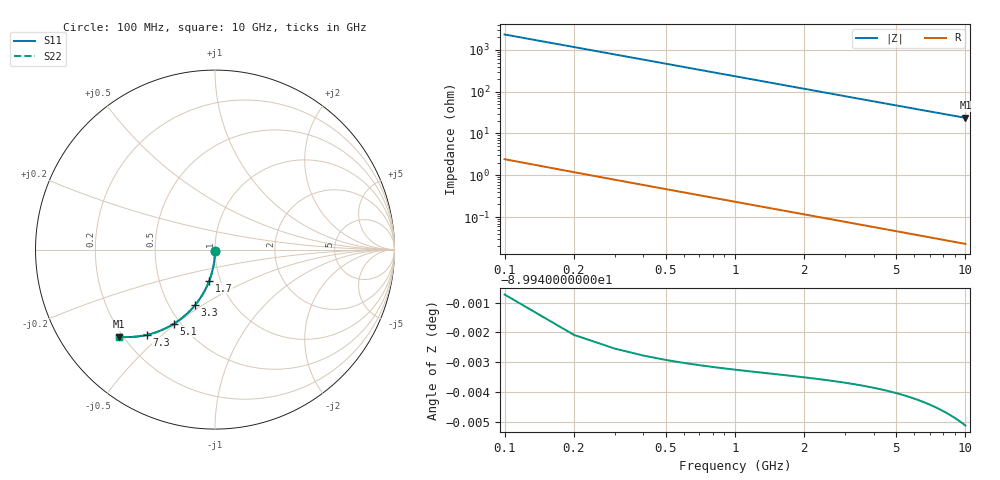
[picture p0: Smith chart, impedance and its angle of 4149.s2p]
# Hz S RI R 50.00
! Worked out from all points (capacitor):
!   100 points, 100 MHz to 10 GHz, reference 50 ohm
!   read as one part in shunt: C = 679 fF near 100 MHz
!   lowest |Z| = 23.7 ohm at 10 GHz (marker M1)
!   S11 on the Smith chart (normalised r, x): 100 MHz: 1.00, -0.02; 1.7 GHz: 0.88, -0.32; 3.3 GHz: 0.67, -0.46; 5.1 GHz: 0.46, -0.49; 7.3 GHz: 0.30, -0.45; 10 GHz: 0.19, -0.38
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1e8  -9.57e-05 -0.0105  0.9998 -0.0108  0.9998 -0.0108  -9.57e-05 -0.0105
2e8  -0.000447 -0.0211  0.9995 -0.0216  0.9995 -0.0216  -0.000447 -0.0211
3e8  -0.00103 -0.0316  0.9989 -0.0324  0.9989 -0.0324  -0.00103 -0.0316
4e8  -0.00183 -0.0421  0.9981 -0.0431  0.9981 -0.0431  -0.00183 -0.0421
5e8  -0.00286 -0.0525  0.9971 -0.0538  0.9971 -0.0538  -0.00286 -0.0525
6e8  -0.00411 -0.063  0.9958 -0.0645  0.9958 -0.0645  -0.00411 -0.063
8e8  -0.00728 -0.0837  0.9927 -0.0857  0.9927 -0.0857  -0.00728 -0.0837
9e8  -0.0092 -0.094  0.9907 -0.0963  0.9907 -0.0963  -0.0092 -0.094
1.1e9  -0.0137 -0.1143  0.9863 -0.1172  0.9863 -0.1172  -0.0137 -0.1143
1.4e9  -0.0219 -0.1442  0.978 -0.1479  0.978 -0.1479  -0.0219 -0.1442
1.7e9  -0.032 -0.1733  0.968 -0.1777  0.968 -0.1777  -0.032 -0.1733
1.8e9  -0.0357 -0.1828  0.9642 -0.1875  0.9642 -0.1875  -0.0357 -0.1828
2.1e9  -0.0479 -0.2105  0.952 -0.216  0.952 -0.216  -0.0479 -0.2105
2.5e9  -0.0666 -0.2456  0.9333 -0.2521  0.9333 -0.2521  -0.0666 -0.2456
3.3e9  -0.1105 -0.3088  0.8894 -0.3174  0.8894 -0.3174  -0.1105 -0.3088
3.4e9  -0.1165 -0.3159  0.8834 -0.3248  0.8834 -0.3248  -0.1165 -0.3159
4.2e9  -0.1675 -0.3674  0.8324 -0.3784  0.8324 -0.3784  -0.1675 -0.3674
5.1e9  -0.2287 -0.4129  0.7711 -0.4263  0.7711 -0.4263  -0.2287 -0.4129
6.7e9  -0.3386 -0.4639  0.6612 -0.4816  0.6612 -0.4816  -0.3386 -0.4639
7.3e9  -0.378 -0.4747  0.6217 -0.4941  0.6217 -0.4941  -0.378 -0.4747
8.4e9  -0.4461 -0.4854  0.5536 -0.5078  0.5536 -0.5078  -0.4461 -0.4854
1e10  -0.5333 -0.485  0.4663 -0.5118  0.4663 -0.5118  -0.5333 -0.485
